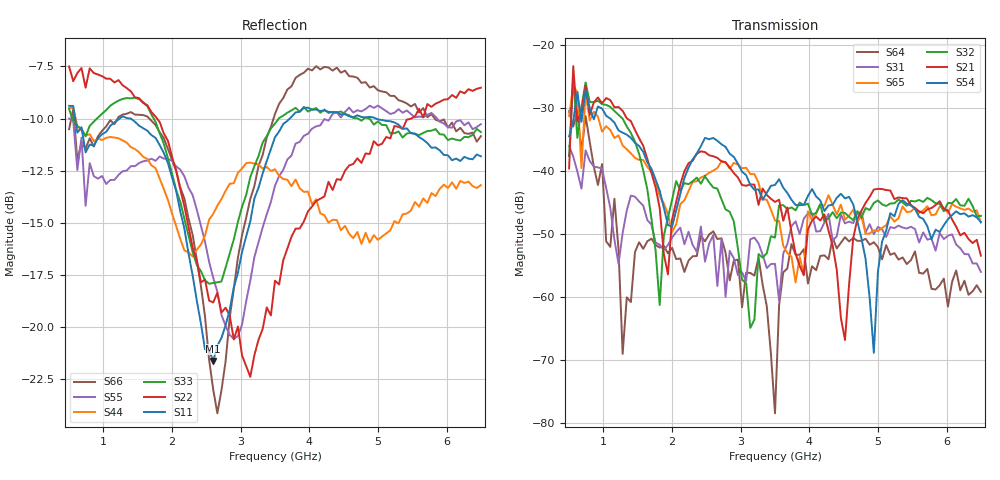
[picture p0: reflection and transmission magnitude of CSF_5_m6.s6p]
!Keysight Technologies,M9804A,MY58100912,A.14.10.03
!Date: Thursday, April 27, 2023 10:28:33
!Correction: S11(C  6-Port  )
!S12(C  6-Port  )
!S13(C  6-Port  )
!S14(C  6-Port  )
!S15(C  6-Port  )
!S16(C  6-Port  )
!S21(C  6-Port  )
!S22(C  6-Port  )
!S23(C  6-Port  )
!S24(C  6-Port  )
!S25(C  6-Port  )
!S26(C  6-Port  )
!S31(C  6-Port  )
!S32(C  6-Port  )
!S33(C  6-Port  )
!S34(C  6-Port  )
!S35(C  6-Port  )
!S36(C  6-Port  )
!S41(C  6-Port  )
!S42(C  6-Port  )
!S43(C  6-Port  )
!S44(C  6-Port  )
!S45(C  6-Port  )
!S46(C  6-Port  )
!S51(C  6-Port  )
!S52(C  6-Port  )
!S53(C  6-Port  )
!S54(C  6-Port  )
!S55(C  6-Port  )
!S56(C  6-Port  )
!S61(C  6-Port  )
!S62(C  6-Port  )
!S63(C  6-Port  )
!S64(C  6-Port  )
!S65(C  6-Port  )
!S66(C  6-Port  )
!S6P File: Measurement: :
# Hz S  RI  R 50
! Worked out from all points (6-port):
!   101 points, 500 MHz to 6.5 GHz, reference 50 ohm
!   strongest paths, dB at 500 MHz, 2 GHz, 3.5 GHz, 5 GHz, 6.5 GHz:
!     S54: -34.5, -48.8, -42.2, -56.0, -48.1
!     S21: -39.6, -47.7, -44.9, -42.8, -53.4
!     S32: -37.6, -44.6, -50.6, -44.6, -47.1
!     S65: -31.2, -49.6, -47.9, -49.5, -48.1
!     S31: -36.0, -50.5, -54.7, -48.9, -56.0
!     S64: -30.4, -52.2, -78.5, -52.0, -59.2
!   lowest |S11| = -21.6 dB at 2.6 GHz (marker M1), VSWR 1.18, Z = 42.6 + j2.02 ohm
!   |S11| at or under -10 dB: 588.1 MHz to 1.238 GHz (650.1 MHz wide, 71.2 % of centre); 1.387 GHz to 3.716 GHz (2.329 GHz wide, 91.3 % of centre); 4.97 GHz to end of sweep
